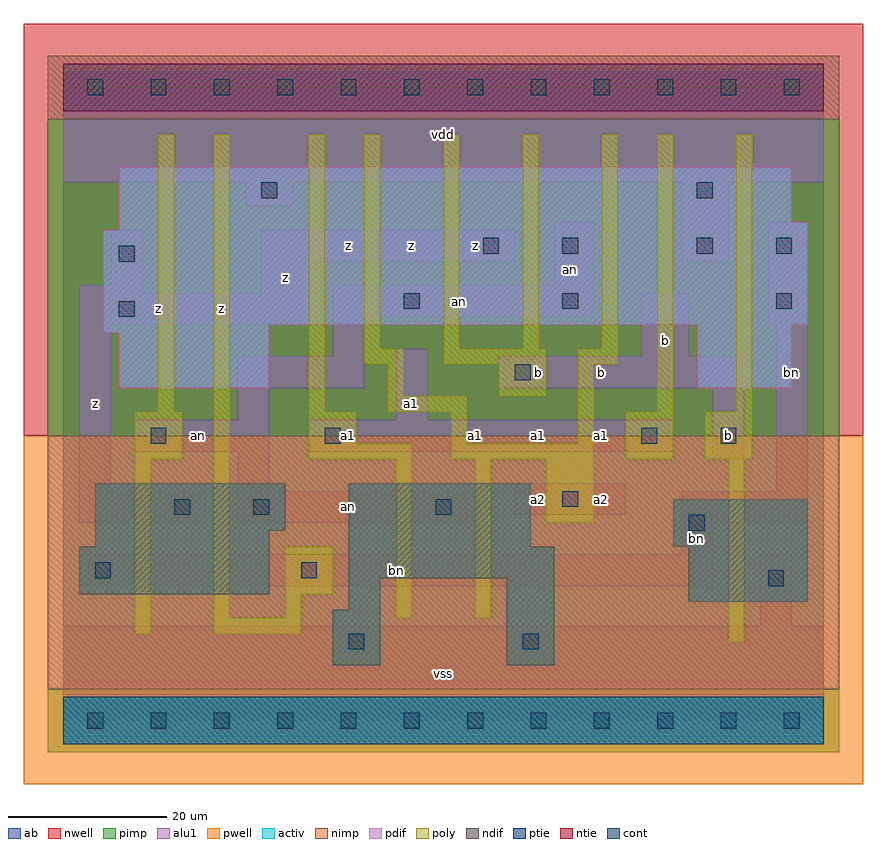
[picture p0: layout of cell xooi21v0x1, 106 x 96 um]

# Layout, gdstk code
import gdstk
lib = gdstk.Library(unit=1e-6, precision=1e-09)
def R(c, l, rs):  # rectangles x0, y0, x1, y1
    for r in rs: c.add(gdstk.rectangle(r[:2], r[2:], *l))
def A(c, l, x, y, w, h, nx, ny, dx, dy):  # array of equal rectangles
    R(c, l, [(x+i*dx, y+j*dy, x+i*dx+w, y+j*dy+h) for i in range(nx) for j in range(ny)])
ndif = (3, 0)
pdif = (4, 0)
ntie = (5, 0)
ptie = (6, 0)
cont = (25, 0)
pwell = (41, 0)
nwell = (42, 0)
activ = (43, 0)
pimp = (44, 0)
nimp = (45, 0)
poly = (46, 0)
alu1 = (49, 0)
ab = (63, 0)

xooi21v0x1 = lib.new_cell('xooi21v0x1')
R(xooi21v0x1, ndif, [(34,7,40,14), (56,7,62,18), (36,14,40,18), (79,15,94,22), (2,16,26,22), (36,18,62,22), (4,22,26,24), (36,22,59,30), (77,22,94,28), (4,24,28,30)])
R(xooi21v0x1, pdif, [(7,42,26,49), (80,42,92,50), (5,49,26,50), (5,50,94,62), (7,62,94,63), (7,63,92,70)])
R(xooi21v0x1, ntie, [(0,77,96,83)])
R(xooi21v0x1, ptie, [(0,-3,96,3)])
A(xooi21v0x1, cont, 3, -1, 2, 2, 12, 2, 8, 80)
R(xooi21v0x1, cont, [(36,9,38,11), (58,9,60,11), (89,17,91,19), (4,18,6,20), (30,18,32,20), (79,24,81,26), (14,26,16,28), (24,26,26,28), (47,26,49,28), (63,27,65,29), (11,35,13,37), (33,35,35,37), (73,35,75,37), (83,35,85,37), (57,43,59,45), (7,51,9,53), (43,52,45,54), (63,52,65,54), (90,52,92,54), (7,58,9,60), (53,59,55,61), (63,59,65,61), (80,59,82,61), (90,59,92,61), (25,66,27,68), (80,66,82,68)])
R(xooi21v0x1, pwell, [(-5,-8,101,36)])
R(xooi21v0x1, nwell, [(-5,36,101,88)])
R(xooi21v0x1, activ, [(0,-3,96,3), (34,7,40,14), (56,7,62,18), (36,14,40,18), (79,15,94,22), (2,16,26,22), (36,18,62,22), (4,22,26,24), (36,22,59,30), (77,22,94,28), (4,24,28,30), (7,42,26,49), (80,42,92,50), (5,49,26,50), (5,50,94,62), (7,62,94,63), (7,63,92,70), (0,77,96,83)])
R(xooi21v0x1, pimp, [(-2,-4,98,4), (-2,36,98,76)])
R(xooi21v0x1, nimp, [(-2,4,98,36), (-2,76,98,84)])
A(xooi21v0x1, poly, 38, 47, 2, 27, 4, 1, 10, 0)
R(xooi21v0x1, poly, [(84,10,86,33), (9,11,11,33), (19,11,30,13), (19,13,21,74), (28,13,30,16), (42,13,44,33), (52,13,54,33), (28,16,34,22), (61,25,67,33), (9,33,15,39), (31,33,44,35), (49,33,67,35), (71,33,77,39), (81,33,87,39), (31,35,37,39), (49,35,51,39), (65,35,67,45), (12,39,14,74), (31,39,33,74), (41,39,51,41), (75,39,77,74), (85,39,87,74), (41,41,43,45), (55,41,61,45), (38,45,43,47), (48,45,61,47), (65,45,70,47)])
R(xooi21v0x1, alu1, [(0,-2,96,12), (88,12,92,21), (2,17,82,21), (78,21,82,25), (2,25,18,29), (22,25,51,29), (78,25,94,29), (57,26,71,30), (2,29,6,50), (22,29,26,34), (90,29,94,50), (82,33,86,42), (9,34,26,38), (31,34,77,38), (22,38,26,42), (42,38,46,47), (22,42,38,46), (55,42,86,46), (34,46,38,51), (73,46,79,54), (2,50,31,54), (89,50,94,63), (34,51,67,55), (2,54,10,55), (25,54,31,58), (6,55,10,62), (62,55,67,63), (25,58,57,62), (78,58,84,68), (23,65,29,68), (0,68,96,82)])
R(xooi21v0x1, ab, [(0,0,96,80)])
xooi21v0x1.add(gdstk.Label('an', (17,36), layer=49, texttype=0))
xooi21v0x1.add(gdstk.Label('an', (36,27), layer=49, texttype=0))
xooi21v0x1.add(gdstk.Label('an', (50,53), layer=49, texttype=0))
xooi21v0x1.add(gdstk.Label('an', (64,57), layer=49, texttype=0))
xooi21v0x1.add(gdstk.Label('bn', (80,23), layer=49, texttype=0))
xooi21v0x1.add(gdstk.Label('bn', (42,19), layer=49, texttype=0))
xooi21v0x1.add(gdstk.Label('bn', (92,44), layer=49, texttype=0))
xooi21v0x1.add(gdstk.Label('z', (4,40), layer=49, texttype=0))
xooi21v0x1.add(gdstk.Label('z', (20,52), layer=49, texttype=0))
xooi21v0x1.add(gdstk.Label('z', (12,52), layer=49, texttype=0))
xooi21v0x1.add(gdstk.Label('a1', (36,36), layer=49, texttype=0))
xooi21v0x1.add(gdstk.Label('a1', (44,40), layer=49, texttype=0))
xooi21v0x1.add(gdstk.Label('z', (28,56), layer=49, texttype=0))
xooi21v0x1.add(gdstk.Label('z', (36,60), layer=49, texttype=0))
xooi21v0x1.add(gdstk.Label('z', (44,60), layer=49, texttype=0))
xooi21v0x1.add(gdstk.Label('vss', (48,6), layer=49, texttype=0))
xooi21v0x1.add(gdstk.Label('a1', (52,36), layer=49, texttype=0))
xooi21v0x1.add(gdstk.Label('a1', (68,36), layer=49, texttype=0))
xooi21v0x1.add(gdstk.Label('a1', (60,36), layer=49, texttype=0))
xooi21v0x1.add(gdstk.Label('a2', (68,28), layer=49, texttype=0))
xooi21v0x1.add(gdstk.Label('a2', (60,28), layer=49, texttype=0))
xooi21v0x1.add(gdstk.Label('b', (60,44), layer=49, texttype=0))
xooi21v0x1.add(gdstk.Label('b', (68,44), layer=49, texttype=0))
xooi21v0x1.add(gdstk.Label('z', (52,60), layer=49, texttype=0))
xooi21v0x1.add(gdstk.Label('vdd', (48,74), layer=49, texttype=0))
xooi21v0x1.add(gdstk.Label('b', (84,36), layer=49, texttype=0))
xooi21v0x1.add(gdstk.Label('b', (76,48), layer=49, texttype=0))

lib.write_gds('xooi21v0x1.gds')
